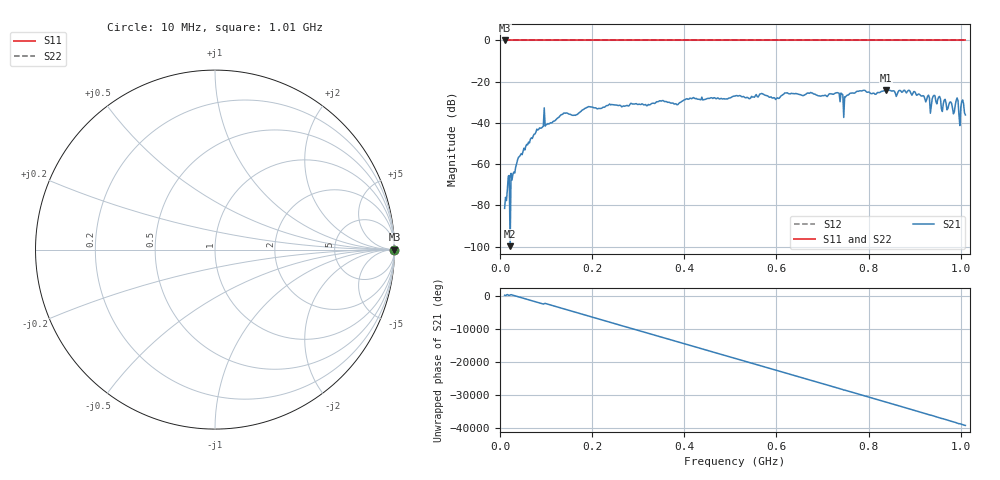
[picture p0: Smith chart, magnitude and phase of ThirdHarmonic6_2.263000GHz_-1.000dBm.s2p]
! 8/17/2025 2:48:35 AM
! C:\ANRITSUVNA\TEMP\TEMP.S2P
! CHANNEL.1
! TR.MEASUREMENT
! RAW.DATA
! RF.CORRECTION.OFF
! AVERAGING.OFF
! IF.BANDWIDTH: 5KHZ
! SWEEPTYPE:  FREQ.SWEEP(Linear)
! Reference Plane Port Info
! PORT:  PORT1  PORT2
! DISTANCE:  0  m  0  m
! TIME:  0  s  0  s
! PHASE.OFFSET:  0  deg.  0  deg.
! LOSS:  0  dB  0  dB
! REF.LOSS:  0  dB  0  dB
! REF.FREQ:  0  Hz  0  Hz
! Power Info
! POWER:  -20  dBm  -20  dBm
! EFF.POWER:  -20  dBm  -20  dBm
! SOURCE.ATTEN:  0  dB  0  dB
! TEST.ATTEN:  0  dB  0  dB
# GHZ S RI R 50.0
! FREQ.GHZ  S11RE  S11IM  S21RE  S21IM  S12RE  S12IM  S22RE  S22IM
!; PortSelection: Port_12
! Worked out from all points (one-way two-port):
!   501 points, 10 MHz to 1.01 GHz, reference 50 ohm
!   highest |S21| = -24.08 dB at 838 MHz (marker M1); lowest = -99.8 dB at 22 MHz (marker M2)
!   lowest |S11| = 0.0 dB at 10 MHz (marker M3)
!   |S11| at or under -10 dB: nowhere
!   |S22| runs from 0.0 to 0.0 dB; largest |S21 - S12| = 1.1
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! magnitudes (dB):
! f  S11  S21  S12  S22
! 10 MHz  0.0  -81.4  0.0  0.0
! 16 MHz  0.0  -72.2  0.0  0.0
! 22 MHz  0.0  -99.8  0.0  0.0
! 42 MHz  0.0  -56.3  0.0  0.0
! 92 MHz  0.0  -42.1  0.0  0.0
! 178 MHz  0.0  -33.8  0.0  0.0
! 344 MHz  0.0  -29.6  0.0  0.0
! 510 MHz  0.0  -27.0  0.0  0.0
! 678 MHz  0.0  -25.5  0.0  0.0
! 732 MHz  0.0  -25.3  0.0  0.0
! 750 MHz  0.0  -27.3  0.0  0.0
! 778 MHz  0.0  -24.7  0.0  0.0
! 838 MHz  0.0  -24.1  0.0  0.0
! 844 MHz  0.0  -24.1  0.0  0.0
! 900 MHz  0.0  -24.8  0.0  0.0
! 936 MHz  0.0  -31.9  0.0  0.0
! 942 MHz  0.0  -26.6  0.0  0.0
! 984 MHz  0.0  -35.6  0.0  0.0
! 990 MHz  0.0  -29.1  0.0  0.0
! 998 MHz  0.0  -41.3  0.0  0.0
! 1.004 GHz  0.0  -28.8  0.0  0.0
! 1.01 GHz  0.0  -36.1  0.0  0.0
